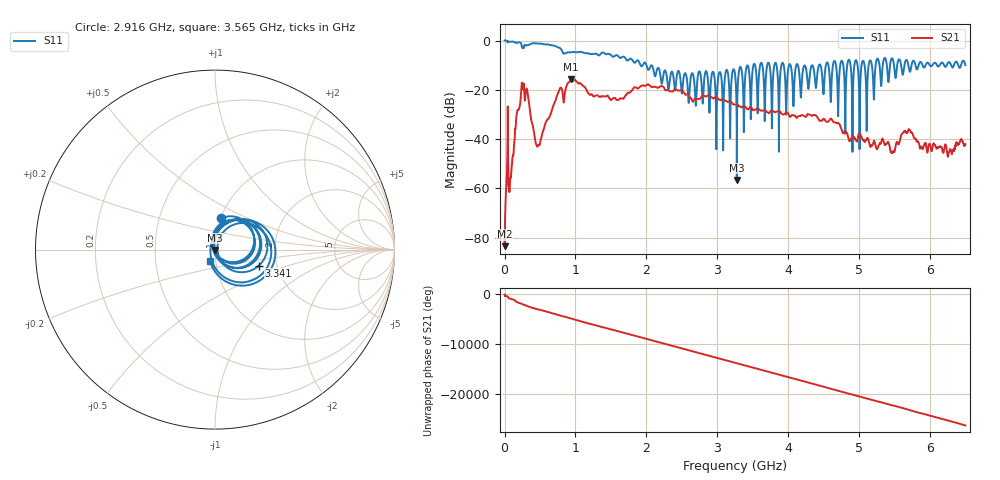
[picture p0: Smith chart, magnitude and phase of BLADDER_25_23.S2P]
!Keysight Technologies,E5063A,MY54503115,A.05.08
!Date: Sun Feb 04 18:55:45 2024
!Data & Calibration Information:
!Freq	S11:NONE(--)	S21:NONE(--)	S12:NONE(--)	S22:NONE(--)
# Hz S dB R 50
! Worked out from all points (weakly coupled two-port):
!   10001 points, 100 kHz to 6.5 GHz, reference 50 ohm
!   highest |S21| = -15.80 dB at 939.3 MHz (marker M1); lowest = -83.5 dB at 2.05 MHz (marker M2)
!   lowest |S11| = -56.7 dB at 3.276 GHz (marker M3), VSWR 1.00, Z = 50 - j0.147 ohm
!   |S11| at or under -10 dB: 2.001 GHz to 3.51 GHz (1.509 GHz wide, 54.8 % of centre); 4.034 GHz to 4.114 GHz (80.42 MHz wide, 1.97 % of centre); 4.138 GHz to 4.435 GHz (296.9 MHz wide, 6.93 % of centre) (the widest 3 of 30)
!   S12 and S22 are empty: the file has one direction only
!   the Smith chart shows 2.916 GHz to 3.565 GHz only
!   S11 on the Smith chart (normalised r, x): 2.916 GHz: 1.01, +0.36; 3.341 GHz: 1.61, -0.31; 3.565 GHz: 0.94, -0.12
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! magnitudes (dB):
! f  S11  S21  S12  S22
! 100 kHz  0.0  -80.4  -  -
! 2.05 MHz  0.0  -83.5  -  -
! 38.45 MHz  -0.2  -46.0  -  -
! 89.15 MHz  -0.5  -55.3  -  -
! 247.7 MHz  -2.9  -17.8  -  -
! 470.7 MHz  -1.2  -42.6  -  -
! 939.3 MHz  -4.8  -15.8  -  -
! 1.084 GHz  -4.6  -17.7  -  -
! 1.594 GHz  -6.1  -24.0  -  -
! 2.167 GHz  -11.1  -19.1  -  -
! 2.916 GHz  -15.0  -22.9  -  -
! 3.25 GHz  -13.6  -25.9  -  -
! 3.276 GHz  -56.7  -26.0  -  -
! 3.341 GHz  -11.7  -27.1  -  -
! 3.565 GHz  -22.9  -27.5  -  -
! 3.619 GHz  -9.0  -28.5  -  -
! 3.869 GHz  -45.2  -28.8  -  -
! 3.92 GHz  -9.0  -29.9  -  -
! 4.334 GHz  -10.1  -30.6  -  -
! 5.417 GHz  -16.5  -41.7  -  -
! 5.712 GHz  -12.4  -36.2  -  -
! 6.5 GHz  -10.0  -42.1  -  -
